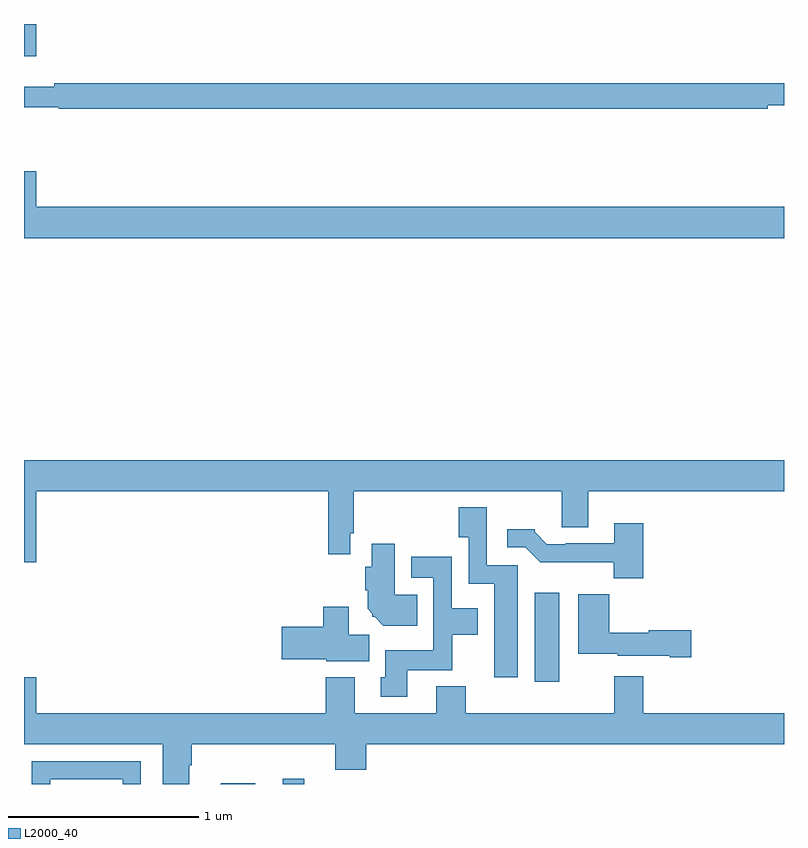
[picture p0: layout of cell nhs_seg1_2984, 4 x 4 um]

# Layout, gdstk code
import gdstk
lib = gdstk.Library(unit=1e-6, precision=1e-09)
def R(c, l, rs):  # rectangles x0, y0, x1, y1
    for r in rs: c.add(gdstk.rectangle(r[:2], r[2:], *l))
def P(c, l, *ps):  # polygons
    for p in ps: c.add(gdstk.Polygon(p, *l))
L2000_40 = (2000, 40)

nhs_seg1_2984 = lib.new_cell('nhs_seg1_2984')
R(nhs_seg1_2984, L2000_40, [(274.361,542.199,274.476,542.227), (275.687,542.736,275.818,543.205), (273,546.03,273.064,546.199)])
P(nhs_seg1_2984, L2000_40, [(276.914,545.772),(277,545.772),(277,545.888),(273.16,545.888),(273.16,545.869),(273,545.869),(273,545.76),(273.182,545.76),(273.182,545.752),(276.914,545.752)],
  [(277,545.236),(273.064,545.236),(273.064,545.425),(273,545.425),(273,545.072),(277,545.072)],
  [(273.064,543.74),(274.6,543.74),(274.6,543.408),(274.716,543.408),(274.716,543.52),(274.736,543.52),(274.736,543.74),(275.831,543.74),(275.831,543.55),(275.971,543.55),(275.971,543.74),(277,543.74),(277,543.904),(273,543.904),(273,543.366),(273.064,543.366)],
  [(275.599,543.351),(275.436,543.351),(275.436,543.655),(275.288,543.655),(275.288,543.499),(275.34,543.499),(275.34,543.254),(275.474,543.254),(275.474,542.76),(275.599,542.76)],
  [(276.26,543.571),(276.107,543.571),(276.107,543.465),(275.851,543.465),(275.851,543.462),(275.752,543.462),(275.688,543.526),(275.688,543.541),(275.544,543.541),(275.544,543.444),(275.637,543.444),(275.716,543.366),(276.105,543.366),(276.105,543.281),(276.26,543.281)],
  [(275.069,543.196),(274.951,543.196),(274.951,543.463),(274.829,543.463),(274.829,543.342),(274.796,543.342),(274.796,543.22),(274.808,543.22),(274.808,543.121),(274.833,543.096),(274.833,543.078),(274.845,543.078),(274.891,543.032),(275.069,543.032)],
  [(275.017,542.798),(275.253,542.798),(275.253,542.984),(275.389,542.984),(275.389,543.124),(275.25,543.124),(275.25,543.394),(275.037,543.394),(275.037,543.285),(275.154,543.285),(275.154,542.902),(274.901,542.902),(274.901,542.76),(274.877,542.76),(274.877,542.658),(275.017,542.658)],
  [(276.511,543.008),(276.288,543.008),(276.288,542.995),(276.08,542.995),(276.08,543.199),(275.918,543.199),(275.918,542.885),(276.126,542.885),(276.126,542.873),(276.398,542.873),(276.398,542.866),(276.511,542.866)],
  [(274.816,542.985),(274.708,542.985),(274.708,543.133),(274.574,543.133),(274.574,543.026),(274.356,543.026),(274.356,542.855),(274.59,542.855),(274.59,542.846),(274.816,542.846)],
  [(273.87,542.299),(273.884,542.299),(273.884,542.408),(274.637,542.408),(274.637,542.275),(274.802,542.275),(274.802,542.408),(277,542.408),(277,542.572),(276.26,542.572),(276.26,542.767),(276.107,542.767),(276.107,542.572),(275.324,542.572),(275.324,542.713),(275.171,542.713),(275.171,542.572),(274.741,542.572),(274.741,542.761),(274.589,542.761),(274.589,542.572),(273.064,542.572),(273.064,542.761),(273,542.761),(273,542.408),(273.731,542.408),(273.731,542.199),(273.87,542.199)],
  [(273.138,542.223),(273.519,542.223),(273.519,542.199),(273.615,542.199),(273.615,542.319),(273.041,542.319),(273.041,542.199),(273.138,542.199)],
  [(274.216,542.204),(274.037,542.204),(274.032,542.199),(274.216,542.199)])

lib.write_gds('nhs_seg1_2984.gds')
